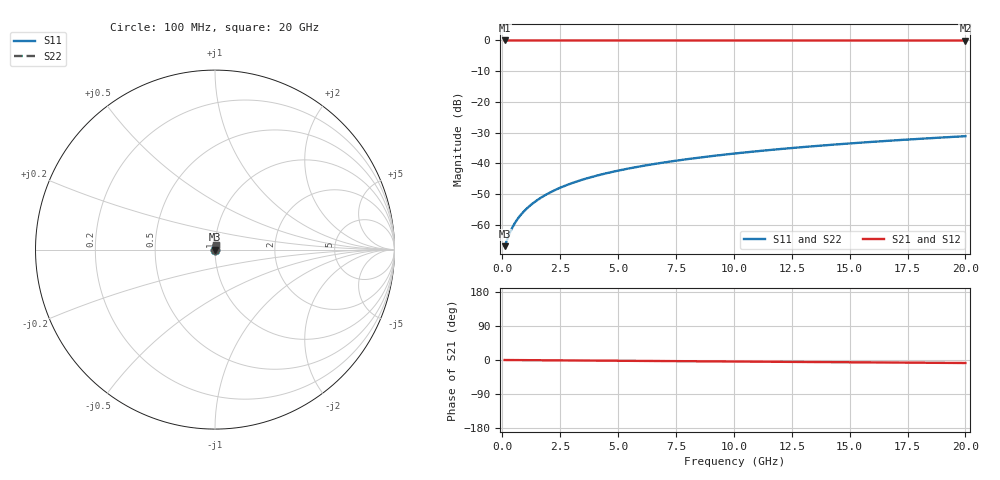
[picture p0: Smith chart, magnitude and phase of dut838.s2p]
! Touchstone file exported from HFSS 2026.1.0
!  File:  C:/ffzhzh/LocalFiles/Ansys_Project_Files/temp_train_TSV_838_1783184853_55132.aedt
!  Generated:  01:09:20 AM Jul  5, 2026
!  Design:  TSV
!  Project:  temp_train_TSV_838_1783184853_55132
! Variables:
!  h_bsmrdl = 2um
!  h_ox = 20um
!  h_rdl = 5um
!  h_sub = 81.53um
!  h_tmrdl = 5um
!  h_tsv = 81.53um
!  h_via = 3um
!  l_bsmrdl = 300um
!  l_sub = 409.98um
!  l_tmrdl = 200um
!  m_sub = 200um
!  pitch = 26.64um
!  r_tsv = 4.99um
!  s_tmrdl = 10um
!  w_bsmrdl = 18um
!  w_sub = 500um
!  w_tmrdl = 12um
!  x_tsv_center1 = 206um
!  x_tsv_center2 = 524um
!  x_tsv_center3 = 736um
!  x_tsv_center4 = 1054um
!  x_tsv_center5 = 1266um
!  x_tsv_center6 = 1584um
# GHz S MA R 50.000000
! Terminal data exported
! Port[1] = TSV1_1_T1
! Port[2] = TSV1_1_T2
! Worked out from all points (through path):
!   200 points, 100 MHz to 20 GHz, reference 50 ohm
!   highest |S21| = 0.00 dB at 100 MHz (marker M1); lowest = 0.0 dB at 20 GHz (marker M2)
!   group delay of S21, straight-line fit = 1.1 ps
!   lowest |S11| = -66.9 dB at 100 MHz (marker M3), VSWR 1.00, Z = 50 + j0.0187 ohm
!   |S11| at or under -10 dB: start of sweep to end of sweep
!   |S22| runs from -66.9 to -31.1 dB; largest |S21 - S12| = 2.1e-15
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0.1  0.0004505 24.6  0.9996 -0.0  0.9996 -0.0  0.0004505 24.6
! Gamma 0 0 0 0
! Port Impedance 50 0 50 0
0.3  0.0007036 50.9  0.9996 -0.1  0.9996 -0.1  0.0007036 50.9
0.4  0.0008534 56.9  0.9995 -0.2  0.9995 -0.2  0.0008534 56.9
0.5  0.001005 61.0  0.9995 -0.2  0.9995 -0.2  0.001005 61.0
0.6  0.001156 63.9  0.9995 -0.3  0.9995 -0.3  0.001156 63.9
0.7  0.001307 66.2  0.9995 -0.3  0.9995 -0.3  0.001307 66.2
0.9  0.001608 69.6  0.9994 -0.4  0.9994 -0.4  0.001608 69.6
1.2  0.00206 72.8  0.9994 -0.5  0.9994 -0.5  0.00206 72.8
1.4  0.002362 74.3  0.9994 -0.6  0.9994 -0.6  0.002362 74.3
1.7  0.002816 75.8  0.9993 -0.7  0.9993 -0.7  0.002816 75.8
2.2  0.003571 77.4  0.9993 -0.9  0.9993 -0.9  0.003571 77.4
2.8  0.004465 78.4  0.9992 -1.1  0.9992 -1.1  0.004465 78.4
3.5  0.005491 79.0  0.9991 -1.4  0.9991 -1.4  0.005491 79.0
4.2  0.006497 79.3  0.999 -1.7  0.999 -1.7  0.006497 79.3
5  0.007625 79.5  0.9988 -2.0  0.9988 -2.0  0.007625 79.5
5.9  0.008875 79.6  0.9987 -2.4  0.9987 -2.4  0.008875 79.6
6.8  0.01011 79.7  0.9986 -2.7  0.9986 -2.7  0.01011 79.7
8.3  0.01215 79.7  0.9984 -3.3  0.9984 -3.3  0.01215 79.7
10.1  0.01457 79.6  0.9983 -4.0  0.9983 -4.0  0.01457 79.6
13.4  0.01899 79.1  0.998 -5.3  0.998 -5.3  0.01899 79.1
16.7  0.02337 78.3  0.9977 -6.6  0.9977 -6.6  0.02337 78.3
20  0.0277 77.3  0.9973 -7.9  0.9973 -7.9  0.0277 77.3
